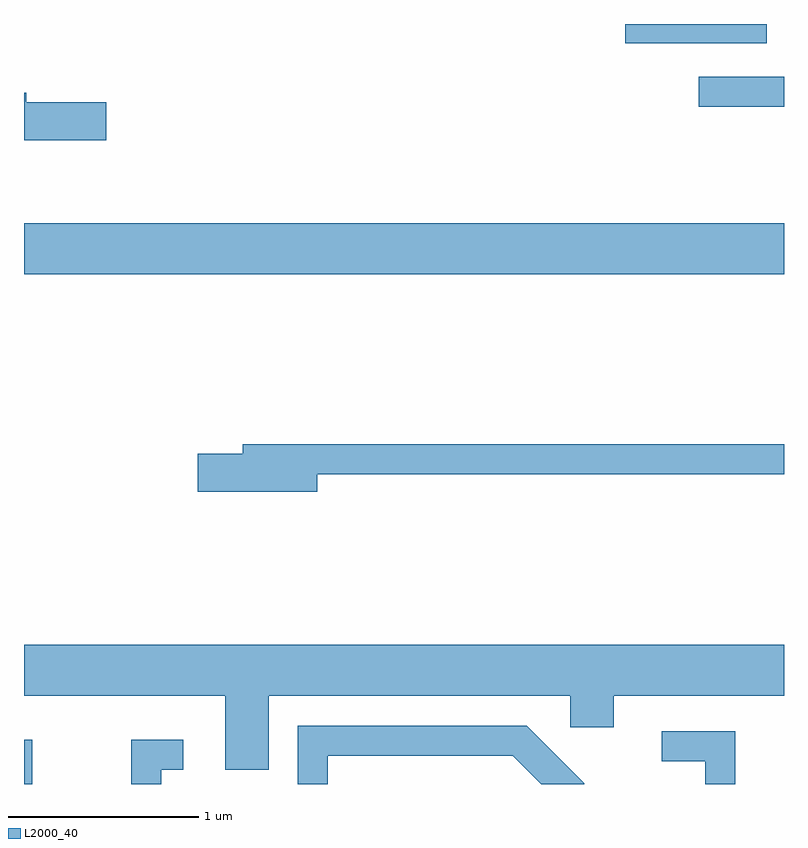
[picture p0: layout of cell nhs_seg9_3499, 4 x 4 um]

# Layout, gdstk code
import gdstk
lib = gdstk.Library(unit=1e-6, precision=1e-09)
def R(c, l, rs):  # rectangles x0, y0, x1, y1
    for r in rs: c.add(gdstk.rectangle(r[:2], r[2:], *l))
def P(c, l, *ps):  # polygons
    for p in ps: c.add(gdstk.Polygon(p, *l))
L2000_40 = (2000, 40)

nhs_seg9_3499 = lib.new_cell('nhs_seg9_3499')
R(nhs_seg9_3499, L2000_40, [(287.611,2022.432,287.654,2022.664), (287.611,2025.116,291.611,2025.384), (291.163,2025.996,291.611,2026.154), (290.776,2026.331,291.519,2026.432)])
P(nhs_seg9_3499, L2000_40, [(288.044,2026.019),(287.624,2026.019),(287.624,2026.069),(287.611,2026.069),(287.611,2025.821),(288.044,2025.821)],
  [(289.154,2024.061),(291.611,2024.061),(291.611,2024.219),(288.761,2024.219),(288.761,2024.169),(288.526,2024.169),(288.526,2023.971),(289.154,2023.971)],
  [(288.899,2022.896),(290.486,2022.896),(290.486,2022.731),(290.714,2022.731),(290.714,2022.896),(291.611,2022.896),(291.611,2023.164),(287.611,2023.164),(287.611,2022.896),(288.671,2022.896),(288.671,2022.506),(288.899,2022.506)],
  [(289.209,2022.581),(290.184,2022.581),(290.333,2022.432),(290.559,2022.432),(290.559,2022.437),(290.257,2022.739),(289.051,2022.739),(289.051,2022.432),(289.209,2022.432)],
  [(291.354,2022.709),(290.968,2022.709),(290.968,2022.551),(291.196,2022.551),(291.196,2022.432),(291.354,2022.432)],
  [(288.334,2022.506),(288.448,2022.506),(288.448,2022.664),(288.176,2022.664),(288.176,2022.432),(288.334,2022.432)])

lib.write_gds('nhs_seg9_3499.gds')
